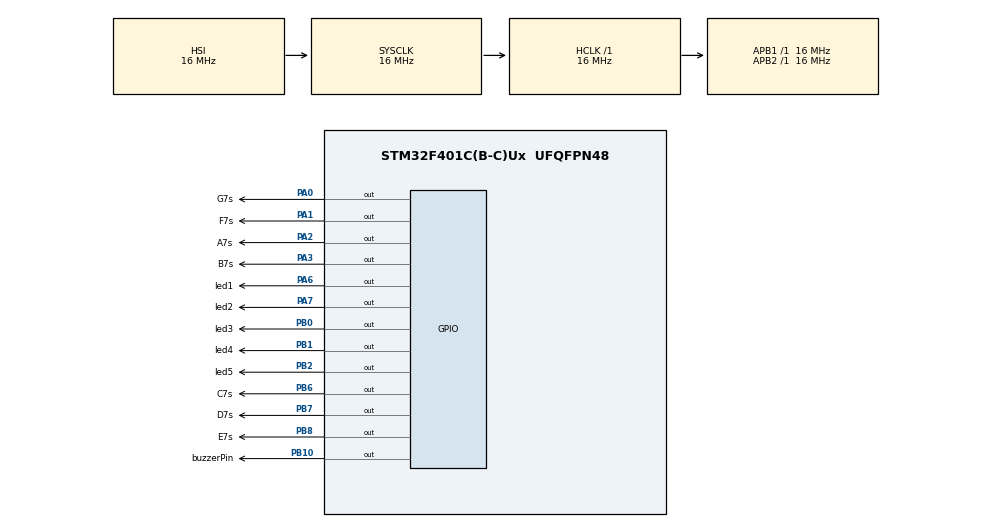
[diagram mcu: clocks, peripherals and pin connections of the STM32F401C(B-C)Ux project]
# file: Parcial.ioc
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Mcu.Family=STM32F4
Mcu.Name=STM32F401C(B-C)Ux
Mcu.Package=UFQFPN48
NVIC.PriorityGroup=NVIC_PRIORITYGROUP_4
PA0-WKUP.GPIO_Label=G7s
PA0-WKUP.Signal=GPIO_Output
PA1.GPIO_Label=F7s
PA1.Signal=GPIO_Output
PA2.GPIO_Label=A7s
PA2.Signal=GPIO_Output
PA3.GPIO_Label=B7s
PA3.Signal=GPIO_Output
PA6.GPIO_Label=led1
PA6.Signal=GPIO_Output
PA7.GPIO_Label=led2
PA7.Signal=GPIO_Output
PB0.GPIO_Label=led3
PB0.Signal=GPIO_Output
PB1.GPIO_Label=led4
PB1.Signal=GPIO_Output
PB10.GPIO_Label=buzzerPin
PB10.Signal=GPIO_Output
PB2.GPIO_Label=led5
PB2.Signal=GPIO_Output
PB6.GPIO_Label=C7s
PB6.Signal=GPIO_Output
PB7.GPIO_Label=D7s
PB7.Signal=GPIO_Output
PB8.GPIO_Label=E7s
PB8.Signal=GPIO_Output
ProjectManager.HeapSize=0x200
ProjectManager.StackSize=0x400
ProjectManager.TargetToolchain=CMake
RCC.AHBFreq_Value=16000000
RCC.APB1Freq_Value=16000000
RCC.APB2Freq_Value=16000000
RCC.CortexFreq_Value=16000000
RCC.HSE_VALUE=25000000
RCC.HSI_VALUE=16000000
RCC.LSE_VALUE=32768
RCC.SYSCLKFreq_VALUE=16000000
RCC.VCOOutputFreq_Value=192000000
board=custom

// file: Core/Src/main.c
/* USER CODE BEGIN Header */
/**
  ******************************************************************************
  * @file           : main.c
  * @brief          : Parcial 1  | Sistemas Embebidos - Rafael Diaz Ortiz y Luis Perez Castro

  ******************************************************************************
  */
/* USER CODE END Header */
#include "main.h"

/* USER CODE BEGIN PD */

//Aqui vamos a guardamos todas las constantes del codigo, como las frecuencias de las notas musicales

// --- DICCIONARIO ÚNICO DE FRECUENCIAS (en Hz) ---

//Un define es decirle al compilador Buscar y Reemplazar | no ocupa espacio en memoria | no es una variable

#define Sil   5

// Octava 1 y 2 (Notas Graves)
#define C_    (261/2)
#define Cs_   (277/2)
#define D_    (293/2)
#define Ds_   (311/2)
#define E_    (329/2)
#define F_    (349/2)
#define Fs_   (369/2)
#define G_    (391/2)
#define Gs_   (415/2)
#define A_    (440/2)
#define As_   (466/2)
#define B_    (493/2)

// Octava 3 (Notas Medias)
#define C     261
#define Cs    277
#define D     293
#define Ds    311
#define E     329
#define F     349
#define Fs    369
#define G     391
#define Gs    415
#define A     440
#define As    466
#define B     493

// Octava 4 (Notas Altas)
#define C2    524
#define Cs2   555
#define D2    588
#define Ds2   623
#define E2    660
#define F2    699
#define Fs2   740
#define G2    784
#define Gs2   831
#define A_2   880
#define As2   933
#define B2    988

// Octava 5 (Notas Muy Altas)
#define C3    1047
#define Cs3   (555*2)
#define D3    (588*2)
#define Ds3   (623*2)
#define E3    (660*2)
#define F3    (699*2)
#define Fs3   (740*2)
#define G3    (784*2)
#define Gs3   (831*2)
#define A_3   (880*2)
#define As3   (933*2)
#define B3    (988*2)
/* USER CODE END PD */

/* USER CODE BEGIN PV */
//Aqui declaramos las variables globales que vamos a usar en el codigo, como la variable pasos para el delay de microsegundos
uint32_t pasos;
/* USER CODE END PV */

void SystemClock_Config(void);
static void MX_GPIO_Init(void);
/* USER CODE BEGIN PFP */
//prototipado de funciones como buena practica, para que el compilador sepa que existen antes de ser usadas
void delay_us_dwt_init(void);
void delay_us_dwt(uint32_t reta);
void Sound_play(uint32_t frec, uint32_t dura);
void reproducir_secuencia(const uint16_t notas[], const uint16_t duraciones[], uint16_t total);

// Función auxiliar para el display de 7 segmentos
void mostrar_7seg(uint8_t a, uint8_t b, uint8_t c, uint8_t d, uint8_t e, uint8_t f, uint8_t g);

// Prototipos de las funciones del parcial
void funcion_conteo_0_9(uint16_t retardo);
void funcion_palabra(uint16_t retardo);

void luces_der_izq(uint32_t velocidad);
void luces_izq_der(uint32_t velocidad);
void luces_centro_extremos(uint32_t velocidad);

void cancion_1_LaGataBajoLaLluvia(void);
void cancion_2_MAMIII(void);
void cancion_3_CarelessWhisper(void);
/* USER CODE END PFP */

/* USER CODE BEGIN 0 */

//Aqui si va ya el codigo que se va a ejecutar, como las funciones del buzzer, display y luces

/*
Notas:

uint8_t: Es un tipo de dato entero sin signo de 8 bits, que puede almacenar valores desde 0 hasta 255. Se utiliza para representar números pequeños o valores que no requieren signo.
int8_t: Es un tipo de dato entero con signo de 8 bits, que puede almacenar valores desde -128 hasta 127. Se utiliza para representar números pequeños que pueden ser negativos.

uint16_t: Es un tipo de dato entero sin signo de 16 bits, que puede almacenar valores desde 0 hasta 65535. Se utiliza para representar números más grandes que uint8_t, pero aún sin signo.
int16_t: Es un tipo de dato entero con signo de 16 bits, que puede almacenar valores desde -32768 hasta 32767. Se utiliza para representar números más grandes que int8_t.

uint32_t: Es un tipo de dato entero sin signo de 32 bits, que puede almacenar valores desde 0 hasta 4294967295. Se utiliza para representar números aún más grandes que uint16_t, pero aun sin signo.
int32_t: Es un tipo de dato entero con signo de 32 bits, que puede almacenar valores desde -2147483648 hasta 2147483647. Se utiliza para representar números aún más grandes que int16_t.

*/

// --- FUNCIONES DEL BUZZER ---
//Con estas funciones podemos hacer que el buzzer suene a una frecuencia y duración determinada, y tambien podemos reproducir secuencias de notas y duraciones | Cabe recalcar que las primeras funciones son para inicializar el delay de microsegundos y para hacer el delay de microsegundos, ya que el HAL_Delay solo permite milisegundos
void delay_us_dwt_init(void)
{
  CoreDebug->DEMCR |= CoreDebug_DEMCR_TRCENA_Msk;
  DWT->CTRL |= DWT_CTRL_CYCCNTENA_Msk;
  pasos = (HAL_RCC_GetSysClockFreq() / 1000000);
}

void delay_us_dwt(uint32_t reta)
{
  DWT->CYCCNT = 0;
  while (DWT->CYCCNT <= pasos * reta);
}

void Sound_play(uint32_t frec, uint32_t dura)
{
  if (frec <= 5) {
    HAL_Delay(dura);
    return;
  }

  uint32_t dela = 500000 / frec;
  uint32_t repe = frec * dura / 1000;

  while (repe--)
  {
    HAL_GPIO_WritePin(buzzerPin_GPIO_Port, buzzerPin_Pin, GPIO_PIN_SET);
    delay_us_dwt(dela);
    HAL_GPIO_WritePin(buzzerPin_GPIO_Port, buzzerPin_Pin, GPIO_PIN_RESET);
    delay_us_dwt(dela);
  }
}

void reproducir_secuencia(const uint16_t notas[], const uint16_t duraciones[], uint16_t total)
{
  for (uint16_t i = 0; i < total; i++)
  {
    Sound_play(notas[i], duraciones[i]);
    HAL_Delay(duraciones[i]); // Pausa equivalente entre notas
  }
}

// =========================================================================
// FUNCIÓN AUXILIAR PARA EL DISPLAY DE 7 SEGMENTOS
// =========================================================================

//Con esta funcion nos vamos a ahorrar escribir Hal_GPIO_WritePin muchas veces, ya que solo tenemos que llamar a esta funcion y pasarle los valores de los pines del display de 7 segmentos, y la funcion se encarga de escribir en los pines correspondientes
void mostrar_7seg(uint8_t a, uint8_t b, uint8_t c, uint8_t d, uint8_t e, uint8_t f, uint8_t g)
{
  HAL_GPIO_WritePin(A7s_GPIO_Port, A7s_Pin, a ? GPIO_PIN_SET : GPIO_PIN_RESET);
  HAL_GPIO_WritePin(B7s_GPIO_Port, B7s_Pin, b ? GPIO_PIN_SET : GPIO_PIN_RESET);
  HAL_GPIO_WritePin(C7s_GPIO_Port, C7s_Pin, c ? GPIO_PIN_SET : GPIO_PIN_RESET);
  HAL_GPIO_WritePin(D7s_GPIO_Port, D7s_Pin, d ? GPIO_PIN_SET : GPIO_PIN_RESET);
  HAL_GPIO_WritePin(E7s_GPIO_Port, E7s_Pin, e ? GPIO_PIN_SET : GPIO_PIN_RESET);
  HAL_GPIO_WritePin(F7s_GPIO_Port, F7s_Pin, f ? GPIO_PIN_SET : GPIO_PIN_RESET);
  HAL_GPIO_WritePin(G7s_GPIO_Port, G7s_Pin, g ? GPIO_PIN_SET : GPIO_PIN_RESET);
}

// =========================================================================
// 1. FUNCION DE CONTEO (0 al 9) - ÁNODO COMÚN (0 enciende, 1 apaga)
// =========================================================================
void funcion_conteo_0_9(uint16_t retardo) {
  // 0
  mostrar_7seg(0, 0, 0, 0, 0, 0, 1);
  HAL_Delay(retardo);

  // 1
  mostrar_7seg(1, 0, 0, 1, 1, 1, 1);
  HAL_Delay(retardo);

  // 2
  mostrar_7seg(0, 0, 1, 0, 0, 1, 0);
  HAL_Delay(retardo);

  // 3
  mostrar_7seg(0, 0, 0, 0, 1, 1, 0);
  HAL_Delay(retardo);

  // 4
  mostrar_7seg(1, 0, 0, 1, 1, 0, 0);
  HAL_Delay(retardo);

  // 5
  mostrar_7seg(0, 1, 0, 0, 1, 0, 0);
  HAL_Delay(retardo);

  // 6
  mostrar_7seg(0, 1, 0, 0, 0, 0, 0);
  HAL_Delay(retardo);

  // 7
  mostrar_7seg(0, 0, 0, 1, 1, 1, 1);
  HAL_Delay(retardo);

  // 8
  mostrar_7seg(0, 0, 0, 0, 0, 0, 0);
  HAL_Delay(retardo);

  // 9
  mostrar_7seg(0, 0, 0, 0, 1, 0, 0);
  HAL_Delay(retardo);

  // Apagar todo al finalizar (en ánodo común se apaga con 1)
  mostrar_7seg(1, 1, 1, 1, 1, 1, 1);
}

// =========================================================================
// 2. FUNCION DE PALABRA (SISTEMAS) - ÁNODO COMÚN
// =========================================================================
void funcion_palabra(uint16_t retardo) {
  // Letra S
  mostrar_7seg(0, 1, 0, 0, 1, 0, 0);
  HAL_Delay(retardo);

  // Letra I
  mostrar_7seg(1, 0, 0, 1, 1, 1, 1);
  HAL_Delay(retardo);

  // Letra S
  mostrar_7seg(0, 1, 0, 0, 1, 0, 0);
  HAL_Delay(retardo);

  // Letra T
  mostrar_7seg(1, 1, 1, 0, 0, 0, 0);
  HAL_Delay(retardo);

  // Letra E
  mostrar_7seg(0, 1, 1, 0, 0, 0, 0);
  HAL_Delay(retardo);

  // Letra M (Aproximación con A, D, G)
  mostrar_7seg(0, 1, 1, 0, 1, 1, 0);
  HAL_Delay(retardo);

  // Letra A
  mostrar_7seg(0, 0, 0, 1, 0, 0, 0);
  HAL_Delay(retardo);

  // Letra S
  mostrar_7seg(0, 1, 0, 0, 1, 0, 0);
  HAL_Delay(retardo);

  // Apagar todo al finalizar
  mostrar_7seg(1, 1, 1, 1, 1, 1, 1);
}

// =========================================================================
// 3. JUEGO DE LUCES (Derecha a Izquierda)
// =========================================================================
void luces_der_izq(uint32_t velocidad) {
  // Apagar todos los LEDs primero
  HAL_GPIO_WritePin(led1_GPIO_Port, led1_Pin, GPIO_PIN_RESET);
  HAL_GPIO_WritePin(led2_GPIO_Port, led2_Pin, GPIO_PIN_RESET);
  HAL_GPIO_WritePin(led3_GPIO_Port, led3_Pin, GPIO_PIN_RESET);
  HAL_GPIO_WritePin(led4_GPIO_Port, led4_Pin, GPIO_PIN_RESET);
  HAL_GPIO_WritePin(led5_GPIO_Port, led5_Pin, GPIO_PIN_RESET);

  // Encender y apagar uno a uno desde led5 a led1
  HAL_GPIO_WritePin(led5_GPIO_Port, led5_Pin, GPIO_PIN_SET);
  HAL_Delay(velocidad);
  HAL_GPIO_WritePin(led5_GPIO_Port, led5_Pin, GPIO_PIN_RESET);

  HAL_GPIO_WritePin(led4_GPIO_Port, led4_Pin, GPIO_PIN_SET);
  HAL_Delay(velocidad);
  HAL_GPIO_WritePin(led4_GPIO_Port, led4_Pin, GPIO_PIN_RESET);

  HAL_GPIO_WritePin(led3_GPIO_Port, led3_Pin, GPIO_PIN_SET);
  HAL_Delay(velocidad);
  HAL_GPIO_WritePin(led3_GPIO_Port, led3_Pin, GPIO_PIN_RESET);

  HAL_GPIO_WritePin(led2_GPIO_Port, led2_Pin, GPIO_PIN_SET);
  HAL_Delay(velocidad);
  HAL_GPIO_WritePin(led2_GPIO_Port, led2_Pin, GPIO_PIN_RESET);

  HAL_GPIO_WritePin(led1_GPIO_Port, led1_Pin, GPIO_PIN_SET);
  HAL_Delay(velocidad);
  HAL_GPIO_WritePin(led1_GPIO_Port, led1_Pin, GPIO_PIN_RESET);
}

// =========================================================================
// 4. JUEGO DE LUCES (Centro a Extremos)
// =========================================================================
void luces_izq_der(uint32_t velocidad) {
  // Apagar todos los LEDs primero
  HAL_GPIO_WritePin(led1_GPIO_Port, led1_Pin, GPIO_PIN_RESET);
  HAL_GPIO_WritePin(led2_GPIO_Port, led2_Pin, GPIO_PIN_RESET);
  HAL_GPIO_WritePin(led3_GPIO_Port, led3_Pin, GPIO_PIN_RESET);
  HAL_GPIO_WritePin(led4_GPIO_Port, led4_Pin, GPIO_PIN_RESET);
  HAL_GPIO_WritePin(led5_GPIO_Port, led5_Pin, GPIO_PIN_RESET);

  // Encender y apagar uno a uno desde led1 a led5
  HAL_GPIO_WritePin(led1_GPIO_Port, led1_Pin, GPIO_PIN_SET);
  HAL_Delay(velocidad);
  HAL_GPIO_WritePin(led1_GPIO_Port, led1_Pin, GPIO_PIN_RESET);

  HAL_GPIO_WritePin(led2_GPIO_Port, led2_Pin, GPIO_PIN_SET);
  HAL_Delay(velocidad);
  HAL_GPIO_WritePin(led2_GPIO_Port, led2_Pin, GPIO_PIN_RESET);

  HAL_GPIO_WritePin(led3_GPIO_Port, led3_Pin, GPIO_PIN_SET);
  HAL_Delay(velocidad);
  HAL_GPIO_WritePin(led3_GPIO_Port, led3_Pin, GPIO_PIN_RESET);

  HAL_GPIO_WritePin(led4_GPIO_Port, led4_Pin, GPIO_PIN_SET);
  HAL_Delay(velocidad);
  HAL_GPIO_WritePin(led4_GPIO_Port, led4_Pin, GPIO_PIN_RESET);

  HAL_GPIO_WritePin(led5_GPIO_Port, led5_Pin, GPIO_PIN_SET);
  HAL_Delay(velocidad);
  HAL_GPIO_WritePin(led5_GPIO_Port, led5_Pin, GPIO_PIN_RESET);
}

// =========================================================================
// 5. JUEGO DE LUCES (Centro a Extremos)
// =========================================================================
void luces_centro_extremos(uint32_t velocidad) {
  // Apagar todos los LEDs al inicio (uno por uno para que funcione siempre)
  HAL_GPIO_WritePin(led1_GPIO_Port, led1_Pin, GPIO_PIN_RESET);
  HAL_GPIO_WritePin(led2_GPIO_Port, led2_Pin, GPIO_PIN_RESET);
  HAL_GPIO_WritePin(led3_GPIO_Port, led3_Pin, GPIO_PIN_RESET);
  HAL_GPIO_WritePin(led4_GPIO_Port, led4_Pin, GPIO_PIN_RESET);
  HAL_GPIO_WritePin(led5_GPIO_Port, led5_Pin, GPIO_PIN_RESET);

  // Centro (led3)
  HAL_GPIO_WritePin(led3_GPIO_Port, led3_Pin, GPIO_PIN_SET);
  HAL_Delay(velocidad);
  HAL_GPIO_WritePin(led3_GPIO_Port, led3_Pin, GPIO_PIN_RESET);

  // Medios (led2 y led4)
  HAL_GPIO_WritePin(led2_GPIO_Port, led2_Pin, GPIO_PIN_SET);
  HAL_GPIO_WritePin(led4_GPIO_Port, led4_Pin, GPIO_PIN_SET);
  HAL_Delay(velocidad);
  HAL_GPIO_WritePin(led2_GPIO_Port, led2_Pin, GPIO_PIN_RESET);
  HAL_GPIO_WritePin(led4_GPIO_Port, led4_Pin, GPIO_PIN_RESET);

  // Extremos (led1 y led5)
  HAL_GPIO_WritePin(led1_GPIO_Port, led1_Pin, GPIO_PIN_SET);
  HAL_GPIO_WritePin(led5_GPIO_Port, led5_Pin, GPIO_PIN_SET);
  HAL_Delay(velocidad);
  HAL_GPIO_WritePin(led1_GPIO_Port, led1_Pin, GPIO_PIN_RESET);
  HAL_GPIO_WritePin(led5_GPIO_Port, led5_Pin, GPIO_PIN_RESET);
}

// =========================================================================
// CANCIÓN 1: LA GATA BAJO LA LLUVIA
// =========================================================================

//para las canciones, definimos el tempo y las duraciones de las notas, y luego definimos los arreglos de notas y duraciones, y finalmente llamamos a la funcion reproducir_secuencia para que suene la cancion
void cancion_1_LaGataBajoLaLluvia(void)
{
  #define TEMPO_GATA (88 * 2)
  #define N_GATA     (60000 / TEMPO_GATA)
  #define S_GATA     (N_GATA / 4)
  #define C_GATA     (2 * S_GATA)
  #define B_GATA     (N_GATA * 2)

  static const uint16_t n[] = {
    E, B, Sil, E, B, A, B, A, B, A, E, Cs, Gs, Sil, Cs, Gs, Fs, Gs, Fs, Gs, Fs, Cs, A_, E, Sil, E,
    E, D, Cs, D, Cs, D, Fs, A, Cs2, B, Cs2, B, Cs2, B, E, B, Sil, E, B, A, B, A, B, A, E, Cs, Gs,
    Sil, Cs, Gs, Fs, Gs, Fs, Gs, Fs, Cs, A_, E, Sil, E, E, D, Cs, D, Cs, D, Fs, A, Cs2, B, Cs2, B,
    Cs2, B, Sil, Cs2, B, Cs2, B, Fs, A, Cs2, Cs2, Sil, B, A, B, A, E, Gs, B, B, Sil, A, Gs, A, Fs,
    Gs, A, Gs, Fs, A, Gs, Sil, Sil, Gs, A, B, B, Gs, Sil, Sil, Gs, A, B, D2, Cs2, Sil, Sil, Fs, Gs,
    A, Cs2, B, A
  };

  static const uint16_t d[] = {
    C_GATA, B_GATA, N_GATA + C_GATA, C_GATA, S_GATA + C_GATA, S_GATA + C_GATA, S_GATA, S_GATA,
    S_GATA + C_GATA, S_GATA + C_GATA, S_GATA, S_GATA, B_GATA, N_GATA + C_GATA, C_GATA,
    S_GATA + C_GATA, S_GATA + C_GATA, S_GATA, S_GATA, S_GATA + C_GATA, S_GATA + C_GATA, S_GATA, S_GATA,
    B_GATA, N_GATA + C_GATA, S_GATA, S_GATA + C_GATA, C_GATA, C_GATA, S_GATA, C_GATA + S_GATA, C_GATA,
    C_GATA, S_GATA, C_GATA + S_GATA, C_GATA, C_GATA, S_GATA, C_GATA + S_GATA, C_GATA, C_GATA, B_GATA,
    B_GATA, C_GATA, S_GATA + C_GATA, S_GATA + C_GATA, S_GATA, S_GATA, S_GATA + C_GATA, S_GATA + C_GATA,
    S_GATA, S_GATA, B_GATA, N_GATA + C_GATA, C_GATA, S_GATA + C_GATA, S_GATA + C_GATA, S_GATA, S_GATA,
    S_GATA + C_GATA, S_GATA + C_GATA, S_GATA, S_GATA, B_GATA, N_GATA + C_GATA, S_GATA, S_GATA + C_GATA,
    C_GATA, C_GATA, S_GATA, C_GATA + S_GATA, C_GATA, C_GATA, S_GATA, C_GATA + S_GATA, C_GATA, C_GATA,
    S_GATA, C_GATA + S_GATA, C_GATA + S_GATA, S_GATA, S_GATA, N_GATA + C_GATA, C_GATA, C_GATA, N_GATA,
    S_GATA, S_GATA, B_GATA, N_GATA + C_GATA, S_GATA, S_GATA, N_GATA + C_GATA, C_GATA, C_GATA, N_GATA,
    S_GATA, S_GATA, B_GATA, N_GATA + C_GATA, S_GATA, S_GATA, N_GATA + C_GATA, C_GATA, C_GATA, N_GATA,
    S_GATA, S_GATA, C_GATA + S_GATA, N_GATA, N_GATA, S_GATA, N_GATA / 3, N_GATA / 3, N_GATA / 3,
    C_GATA + S_GATA, N_GATA, N_GATA, S_GATA, N_GATA / 3, N_GATA / 3, N_GATA / 3, C_GATA + S_GATA,
    N_GATA, B_GATA, S_GATA, C_GATA, C_GATA, C_GATA, B_GATA, C_GATA, B_GATA
  };

  reproducir_secuencia(n, d, sizeof(n) / sizeof(n[0]));
}

// =========================================================================
// CANCIÓN 2: MAMIII (KAROL G)
// =========================================================================
void cancion_2_MAMIII(void)
{
  #define S_MAM   80
  #define C_MAM   (2 * S_MAM)
  #define N_MAM   (C_MAM * 2)
  #define B_MAM   (N_MAM * 2)

  static const uint16_t n[] = {
    G, G, G2, G2, G2, Fs2, B,  G, G, G2, G2, G2, Fs2, C2,  C2, C2, G2, G2, G2, Fs2, C2, C2,
    C2, C2, G2, G2, G2, Fs2, B, A, B,  G, G2, G2, G2, Fs2, B, A, B,  D2, D2, D2, D2, D2, D2, D2,
    E2, D2, C2, C2, G2, G2, G2, C2, C2, C2, C2, C2, G2, Fs2, E2, Fs2, E2
  };

  static const uint16_t d[] = {
    C_MAM, C_MAM, C_MAM, C_MAM, C_MAM, C_MAM, N_MAM,  C_MAM, C_MAM, C_MAM, C_MAM, C_MAM, C_MAM, N_MAM,
    C_MAM, C_MAM, C_MAM, C_MAM, C_MAM, C_MAM, C_MAM, C_MAM,  C_MAM, C_MAM, C_MAM, C_MAM, C_MAM, C_MAM,
    C_MAM + S_MAM, S_MAM, C_MAM,  C_MAM, C_MAM, C_MAM, C_MAM, C_MAM, C_MAM + S_MAM, S_MAM, N_MAM + S_MAM,
    S_MAM, S_MAM, S_MAM, S_MAM, S_MAM, S_MAM, C_MAM, C_MAM, S_MAM,  C_MAM, C_MAM,  C_MAM, C_MAM, C_MAM,
    C_MAM, C_MAM, C_MAM, C_MAM, C_MAM,  C_MAM, C_MAM, C_MAM, N_MAM, B_MAM
  };

  reproducir_secuencia(n, d, sizeof(n) / sizeof(n[0]));
}

// =========================================================================
// CANCIÓN 3: CARELESS WHISPER
// =========================================================================
void cancion_3_CarelessWhisper(void)
{
  #define S_CW   (60000 / (77 * 4 * 2))
  #define C_CW   (2 * S_CW)
  #define N_CW   (C_CW * 2)
  #define B_CW   (N_CW * 2)
  #define TTT_CW (S_CW / 6)

  static const uint16_t n[] = {
    Cs2,
    // Intro Repetición 1
    D2, E2, Fs2, G2, A_2, B2, Cs3, B2, Fs2, D2, Cs3, B2, Fs2, D2, A_2, G2, D2, B, A_2, G2, D2, G2,
    Fs2, D2, B, G, Sil, Fs, G, A, B, Cs2, D2, E2, Fs2,
    // Intro Repetición 2
    D2, E2, Fs2, G2, A_2, B2, Cs3, B2, Fs2, D2, Cs3, B2, Fs2, D2, A_2, G2, D2, B, A_2, G2, D2, G2,
    Fs2, D2, B, G, Sil, Fs, G, A, B, Cs2, D2, E2, Fs2
  };

  static const uint16_t d[] = {
    C_CW,
    // Repetición 1
    TTT_CW, TTT_CW, TTT_CW, TTT_CW, TTT_CW, TTT_CW, C_CW - 6 * TTT_CW, S_CW, C_CW, C_CW, C_CW + S_CW,
    S_CW, C_CW, C_CW + S_CW, C_CW, S_CW, C_CW, C_CW, C_CW + S_CW, S_CW, N_CW + S_CW, C_CW, S_CW, C_CW,
    C_CW, B_CW, S_CW, C_CW, C_CW, C_CW, C_CW, C_CW, C_CW, C_CW, C_CW,
    // Repetición 2
    TTT_CW, TTT_CW, TTT_CW, TTT_CW, TTT_CW, TTT_CW, C_CW - 6 * TTT_CW, S_CW, C_CW, C_CW, C_CW + S_CW,
    S_CW, C_CW, C_CW + S_CW, C_CW, S_CW, C_CW, C_CW, C_CW + S_CW, S_CW, N_CW + S_CW, C_CW, S_CW, C_CW,
    C_CW, B_CW, S_CW, C_CW, C_CW, C_CW, C_CW, C_CW, C_CW, C_CW, C_CW
  };

  reproducir_secuencia(n, d, sizeof(n) / sizeof(n[0]));
}
/* USER CODE END 0 */

int main(void)
{

  /* MCU Configuration--------------------------------------------------------*/

  /* Reset of all peripherals, Initializes the Flash interface and the Systick. */
  HAL_Init();

  /* Configure the system clock */
  SystemClock_Config();

  /* Initialize all configured peripherals */
  MX_GPIO_Init();
  /* USER CODE BEGIN 2 */
  delay_us_dwt_init();
  /* USER CODE END 2 */

  /* Infinite loop */
  /* USER CODE BEGIN WHILE */
  while (1)
  {
    // -------------------------------------------------------------
    // EJECUCIÓN SECUENCIAL DE LAS REQUERIMIENTOS DEL PARCIAL (solo 6)
    // -------------------------------------------------------------

    // 1. Conteo 0 al 9 en el display de 7 segmentos (1 segundo por número)
    funcion_conteo_0_9(1000);
    HAL_Delay(1000);
    funcion_conteo_0_9(500);
    HAL_Delay(1000);

    // 2. Palabra SISTEMAS en el display (500 ms por letra)
    /*funcion_palabra(500);
    HAL_Delay(1000);  */

    // 3. Juego de luces Derecha a Izquierda
    luces_der_izq(200);
    HAL_Delay(1000);

    // 4. Juego de luces Izquierda a Derecha
    /*luces_izq_der(500);
    HAL_Delay(1000); */

    // 5. Juego de luces Centro a Extremos
    luces_centro_extremos(300);
    HAL_Delay(1000);

    // 6. Melodía MAMI (Karol G)
    cancion_2_MAMIII();
    HAL_Delay(1000);

    // 7. Melodía Take On Me / Careless Whisper
    cancion_3_CarelessWhisper();
    HAL_Delay(1000);

    // 8. Melodía La Gata bajo la lluvia
    cancion_1_LaGataBajoLaLluvia();
    HAL_Delay(2000);

    /* USER CODE END WHILE */

  }
}

void SystemClock_Config(void)
{
  RCC_OscInitTypeDef RCC_OscInitStruct = {0};
  RCC_ClkInitTypeDef RCC_ClkInitStruct = {0};

  /** Configure the main internal regulator output voltage
  */
  __HAL_RCC_PWR_CLK_ENABLE();
  __HAL_PWR_VOLTAGESCALING_CONFIG(PWR_REGULATOR_VOLTAGE_SCALE2);

  /** Initializes the RCC Oscillators according to the specified parameters
  * in the RCC_OscInitTypeDef structure.
  */
  RCC_OscInitStruct.OscillatorType = RCC_OSCILLATORTYPE_HSI;
  RCC_OscInitStruct.HSIState = RCC_HSI_ON;
  RCC_OscInitStruct.HSICalibrationValue = RCC_HSICALIBRATION_DEFAULT;
  RCC_OscInitStruct.PLL.PLLState = RCC_PLL_NONE;
  if (HAL_RCC_OscConfig(&RCC_OscInitStruct) != HAL_OK)
  {
    Error_Handler();
  }

  /** Initializes the CPU, AHB and APB buses clocks
  */
  RCC_ClkInitStruct.ClockType = RCC_CLOCKTYPE_HCLK|RCC_CLOCKTYPE_SYSCLK
                              |RCC_CLOCKTYPE_PCLK1|RCC_CLOCKTYPE_PCLK2;
  RCC_ClkInitStruct.SYSCLKSource = RCC_SYSCLKSOURCE_HSI;
  RCC_ClkInitStruct.AHBCLKDivider = RCC_SYSCLK_DIV1;
  RCC_ClkInitStruct.APB1CLKDivider = RCC_HCLK_DIV1;
  RCC_ClkInitStruct.APB2CLKDivider = RCC_HCLK_DIV1;

  if (HAL_RCC_ClockConfig(&RCC_ClkInitStruct, FLASH_LATENCY_0) != HAL_OK)
  {
    Error_Handler();
  }
}

static void MX_GPIO_Init(void)
{
  GPIO_InitTypeDef GPIO_InitStruct = {0};

  /* GPIO Ports Clock Enable */
  __HAL_RCC_GPIOA_CLK_ENABLE();
  __HAL_RCC_GPIOB_CLK_ENABLE();

  /*Configure GPIO pin Output Level */
  HAL_GPIO_WritePin(GPIOA, G7s_Pin|F7s_Pin|A7s_Pin|B7s_Pin
                          |led1_Pin|led2_Pin, GPIO_PIN_RESET);

  /*Configure GPIO pin Output Level */
  HAL_GPIO_WritePin(GPIOB, led3_Pin|led4_Pin|led5_Pin|buzzerPin_Pin
                          |C7s_Pin|D7s_Pin|E7s_Pin, GPIO_PIN_RESET);

  /*Configure GPIO pins : G7s_Pin F7s_Pin A7s_Pin B7s_Pin
                           led1_Pin led2_Pin */
  GPIO_InitStruct.Pin = G7s_Pin|F7s_Pin|A7s_Pin|B7s_Pin
                          |led1_Pin|led2_Pin;
  GPIO_InitStruct.Mode = GPIO_MODE_OUTPUT_PP;
  GPIO_InitStruct.Pull = GPIO_NOPULL;
  GPIO_InitStruct.Speed = GPIO_SPEED_FREQ_LOW;
  HAL_GPIO_Init(GPIOA, &GPIO_InitStruct);

  /*Configure GPIO pins : led3_Pin led4_Pin led5_Pin buzzerPin_Pin
                           C7s_Pin D7s_Pin E7s_Pin */
  GPIO_InitStruct.Pin = led3_Pin|led4_Pin|led5_Pin|buzzerPin_Pin
                          |C7s_Pin|D7s_Pin|E7s_Pin;
  GPIO_InitStruct.Mode = GPIO_MODE_OUTPUT_PP;
  GPIO_InitStruct.Pull = GPIO_NOPULL;
  GPIO_InitStruct.Speed = GPIO_SPEED_FREQ_LOW;
  HAL_GPIO_Init(GPIOB, &GPIO_InitStruct);

}

void Error_Handler(void)
{
  __disable_irq();
  while (1)
  {
  }
}
